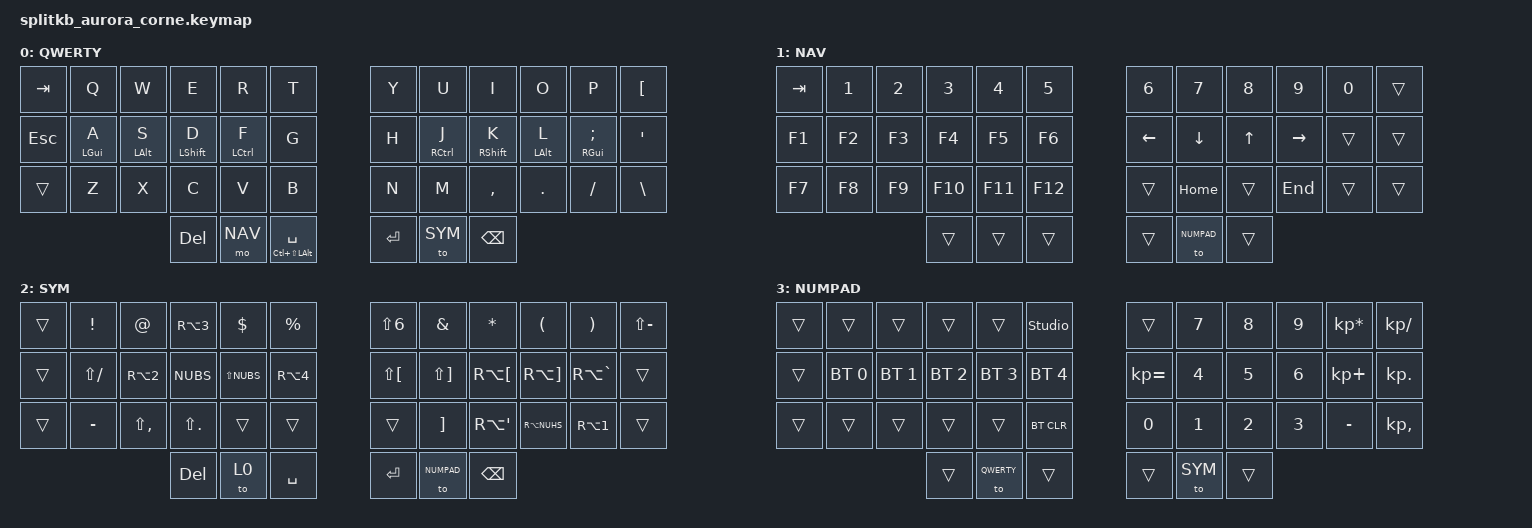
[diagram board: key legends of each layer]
/*
 * Copyright (c) 2020 The ZMK Contributors
 *
 * SPDX-License-Identifier: MIT
 */

#include <behaviors.dtsi>
#include <dt-bindings/zmk/bt.h>
#include <dt-bindings/zmk/keys.h>

// pin p1.01 seems to be low frequency which could cause issues with SPI, change the pin to D1/P0.06 (RGB) 

&nice_view_spi { cs-gpios = <&gpio1 1 GPIO_ACTIVE_HIGH>; };

#define QWERTY  0 
#define NAV     1
#define SYM     2
#define NUMPAD  3

&mt {
    flavor = "tap-preferred";
    tapping-term-ms = <185>;
    quick-tap-ms = <120>;
};

/ {
    behaviors {
        hm: homerow_mods {
            compatible = "zmk,behavior-hold-tap";
            label = "HOMEROW_MODS";
            #binding-cells = <2>;
            tapping-term-ms = <200>;
            flavor = "tap-preferred";
            bindings = <&kp>, <&kp>;

            quick-tap-ms = <120>;
        };

        td: tapdance {
            compatible = "zmk,behavior-hold-tap";
            label = "TAPDANCE";
            #binding-cells = <2>;
            tapping-term-ms = <150>;
            quick_tap_ms = <0>;
            flavor = "tap-preferred";
            bindings = <&kp>, <&kp>;
        };
    };

    keymap {
        compatible = "zmk,keymap";
        
        QWERTY {
            // -----------------------------------------------------------------------------------------
            // | TAB  |  Q  |  W  |  E  |  R  |  T  |       |  Y  |  U   |  I  |  O  |  P  |  `  |
            // | ESC  |  A  |  S  |  D  |  F  |  G  |       |  H  |  J   |  K  |  L  |  Ñ  |  ´  |
            // | NONE |  Z  |  X  |  C  |  V  |  B  |       |  N  |  M   |  ,  |  .  |  -  |  Ç  |
            //                    | DEL | MO 1| MEH/SPC |  | ENT | TO L2  | BSPC |

            bindings = <
&kp TAB  &kp Q           &kp W           &kp E             &kp R               &kp T                     &kp Y    &kp U                &kp I              &kp O           &kp P               &kp LEFT_BRACKET
&kp ESC  &hm LEFT_GUI A  &hm LEFT_ALT S  &hm LEFT_SHIFT D  &hm LEFT_CONTROL F  &kp G                     &kp H    &hm RIGHT_CONTROL J  &hm RIGHT_SHIFT K  &hm LEFT_ALT L  &hm RIGHT_GUI SEMI  &kp SQT
&trans   &kp Z           &kp X           &kp C             &kp V               &kp B                     &kp N    &kp M                &kp COMMA          &kp DOT         &kp FSLH            &kp BACKSLASH
                                         &kp DELETE        &mo NAV             &mt LC(LS(LALT)) SPACE    &kp RET  &to SYM              &kp BACKSPACE
            >;

            label = "QWERTY";
        };

        NAV {
            // -----------------------------------------------------------------------------------------
            // |      |  1  |  2  |  3  |  4  |  5  |   |  6  |  7  |  8  |  9  |  0  |      |
            // |  F1  |  F2 |  F3 |  F4 |  F5 |  F6 |   | LFT | DWN |  UP | RGT |     |      |
            // |  F7  |  F8 |  F9 | F10 | F11 | F12 |   |     | HOME|     | END |     |      |
            //                    |     |     |     |   |     |     |     |

            bindings = <
&kp TAB  &kp N1  &kp N2  &kp N3  &kp N4  &kp N5    &kp N6    &kp N7      &kp N8  &kp N9     &kp N0  &trans
&kp F1   &kp F2  &kp F3  &kp F4  &kp F5  &kp F6    &kp LEFT  &kp DOWN    &kp UP  &kp RIGHT  &trans  &trans
&kp F7   &kp F8  &kp F9  &kp F10 &kp F11 &kp F12   &trans    &kp HOME    &trans  &kp END    &trans  &trans
                         &trans  &trans  &trans    &trans    &to NUMPAD  &trans
            >;

            label = "NAV";
        };

        SYM {
            // -----------------------------------------------------------------------------------------
            // |  TAB |  !  |  "  |  #  |  $  |  %  |   |  &  |  /  |  (  |  )  |  =  |  ?  |
            // |      |  _  |  @  |  <  |  >  |  ~  |   |  ^  |  *  |  [  |  ]  |  \  |     |
            // |      |  '  |  ;  |  :  |     |     |   |     |  +  |  {  |  }  | "|" |     |
            //                    |     |     |     |   |     |     |     |

            bindings = <
&trans &kp EXCL &kp AT &kp RA(NUMBER_3) &kp DLLR &kp PRCNT &kp LS(N6) &kp AMPS &kp ASTRK &kp LPAR &kp RPAR &kp LS(MINUS)
&trans &kp LS(FSLH) &kp RA(N2) &kp NUBS &kp LS(NUBS) &kp RA(N4) &kp LS(LEFT_BRACKET) &kp LS(RIGHT_BRACKET) &kp RA(LEFT_BRACKET) &kp RA(RIGHT_BRACKET) &kp RA(GRAVE) &trans
&trans &kp MINUS &kp LS(COMMA) &kp LS(DOT) &trans &trans &trans &kp RIGHT_BRACKET &kp RA(SINGLE_QUOTE) &kp RA(NUHS) &kp RA(N1) &trans
                              &kp DELETE        &to 0         &kp SPACE    &kp RET    &to NUMPAD             &kp BACKSPACE
            >;

            label = "SYM";
        };

        NUMPAD {
            // -----------------------------------------------------------------------------------------
            // |      |     |     |     |       | std_unlock  |        |     |  7    |  8    |  9    |  *  |  /   |
            // |      | bt0 | bt1 | bt2 |  bt3  |  bt4  |        |  =  |  4    |  5    |  6    |  +  |  .   |
            // |      |     |     |     |       | btclr |        |  0  |  1    |  2    |  3    |  -  |  ,   |
            //                    | DEL | TO L0 |  SPC  |        | ENT | TO L2 | BSPC  |

            bindings = <
&trans     &trans        &trans        &trans        &trans        &studio_unlock  &trans        &kp N7  &kp N8  &kp N9  &kp KP_ASTERISK  &kp KP_DIVIDE
&trans     &bt BT_SEL 0  &bt BT_SEL 1  &bt BT_SEL 2  &bt BT_SEL 3  &bt BT_SEL 4    &kp KP_EQUAL  &kp N4  &kp N5  &kp N6  &kp KP_PLUS      &kp KP_DOT
&trans     &trans        &trans        &trans        &trans        &bt BT_CLR      &kp N0        &kp N1  &kp N2  &kp N3  &kp MINUS        &kp KP_COMMA
                                       &trans        &to QWERTY    &trans          &trans        &to SYM &trans
            >;

            label = "NUMPAD";
        };

    };
};
